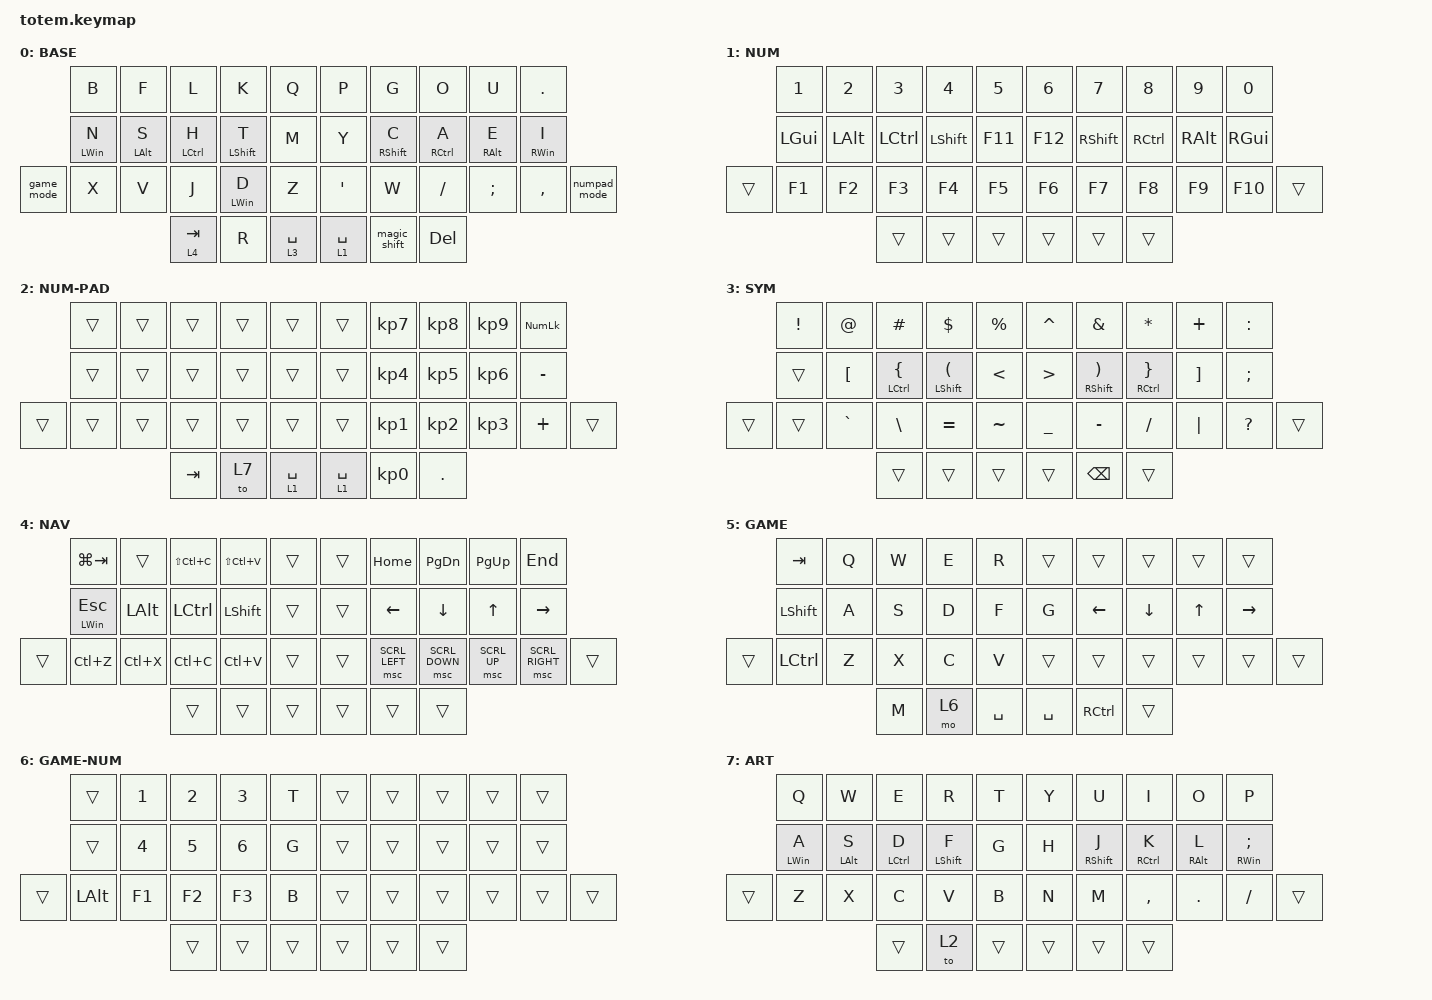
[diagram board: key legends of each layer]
//
//                                                        ▀▀▀▀▀     ▀▀▀▀▀          ▀▀█▀▀
//                                                        ▄▀▀▀▄  ▄  ▄▀▀▀▄  ▄  ▄▀▀▀▄  █  ▄▀▀▀▄
//                                                        █   █  █  █   █  █  █   █  █  █   █
//                                                         ▀▀▀   █   ▀▀▀   █   ▀▀▀   ▀   ▀▀▀
//                                                               █      ▄▄▄█▄▄▄    █   █  
//                                                               ▀      █  █  █     █▄█
//                                                             ▀▀▀▀▀    █  █  █      ▀
//                                                                      ▀  ▀  ▀
//
// ▄▄▄▄▄▄▄▄▄▄▄▄▄▄▄▄▄▄▄▄▄▄▄▄▄▄▄▄▄▄▄▄▄▄▄▄▄▄▄▄▄▄▄▄▄▄▄▄▄▄▄▄▄▄▄▄▄▄▄▄▄▄▄▄▄▄▄▄▄▄▄▄▄▄▄▄▄▄▄▄▄▄▄▄▄▄▄▄▄▄▄▄▄▄▄▄▄▄▄▄▄▄▄▄▄▄▄▄▄▄▄▄▄▄▄▄▄▄▄▄▄▄▄▄▄▄▄▄▄▄▄▄▄▄▄▄▄▄▄▄▄▄▄▄▄▄▄▄▄

#include "totem_labels.h"
#include <behaviors.dtsi>
#include <dt-bindings/zmk/keys.h>
#include <dt-bindings/zmk/pointing.h>

// define keys for home row mods

#define KEYS_L LT0 LT1 LT2 LT3 LT4 LM0 LM1 LM2 LM3 LM4 LB0 LB1 LB2 LB3 LB4
#define KEYS_R RT0 RT1 RT2 RT3 RT4 RM0 RM1 RM2 RM3 RM4 RB0 RB1 RB2 RB3 RB4
#define THUMBS LH2 LH1 LH0 RH0 RH1 RH2

&sk {
    release-after-ms = <900>;
    quick-release;
};

&sl { ignore-modifiers; };

&mt {
    flavor = "tap-preferred";
    tapping-term-ms = <220>;
    quick-tap-ms = <220>;
    hold-trigger-key-positions = <0>;
};

&lt {
    flavor = "balanced";
    quick-tap-ms = <175>;
    tapping-term-ms = <200>;
};

&mmv {
    acceleration-exponent = <1>;          // 1
    time-to-max-speed-ms = <500>;         // 300
    delay-ms = <0>;                       // 0
};

&msc {
    acceleration-exponent = <0>;          // 0
    time-to-max-speed-ms = <300>;         // 300
    delay-ms = <0>;                       // 0
};

/ {
    behaviors {
        hml: home_row_mod_left {
            compatible = "zmk,behavior-hold-tap";
            #binding-cells = <2>;
            flavor = "balanced";
            tapping-term-ms = <275>;
            quick-tap-ms = <185>;
            require-prior-idle-ms = <150>;
            bindings = <&kp>, <&kp>;

            hold-trigger-key-positions = < KEYS_L THUMBS >; // List of keys on the right side of the keyboard
            hold-trigger-on-release;
        };

        hmr: home_row_mod_right {
            compatible = "zmk,behavior-hold-tap";
            #binding-cells = <2>;
            flavor = "balanced";
            tapping-term-ms = <275>;
            quick-tap-ms = <185>;
            require-prior-idle-ms = <150>;
            bindings = <&kp>, <&kp>;

            hold-trigger-key-positions = < KEYS_R THUMBS >; // List of keys on the left side of the keyboard
            hold-trigger-on-release;
        };

        game_mode: game_mode {
            compatible = "zmk,behavior-tap-dance";
            label = "GAME_MODE";
            #binding-cells = <0>;
            bindings = <&to 5>, <&to 0>;
        };

        numpad_mode: numpad_mode {
            compatible = "zmk,behavior-tap-dance";
            label = "NUMPAD_MODE";
            #binding-cells = <0>;
            bindings = <&to 2>, <&to 0>, <&to 7>;
        };

        hold_sticky: hold_sticky {
            compatible = "zmk,behavior-hold-tap";
            label = "HOLD_STICKY";
            bindings = <&kp>, <&sk>;

            #binding-cells = <2>;
            tapping-term-ms = <200>;
        };

        magic_shift: magic_shift {
            compatible = "zmk,behavior-tap-dance";
            label = "MAGIC_SHIFT";
            #binding-cells = <0>;
            bindings = <&hold_sticky LSHIFT LSHIFT>, <&caps_word>;
        };
    };

    combos {
        compatible = "zmk,combos";

        combo_esc {
            timeout-ms = <50>;
            key-positions = <1 2>;
            bindings = <&kp ESC>;
        };

        tilde {
            bindings = <&kp TILDE>;
            key-positions = <0 1>;
        };

        backspace {
            bindings = <&kp BACKSPACE>;
            key-positions = <7 8>;
        };

        numpad {
            bindings = <&tog 2>;
            key-positions = <5 4>;
        };

        enter_L {
            bindings = <&kp ENTER>;
            key-positions = <2 3>;
        };

        enter_R {
            bindings = <&kp ENTER>;
            key-positions = <6 7>;
        };
    };

    keymap {
        compatible = "zmk,keymap";

        base_layer {
            label = "BASE";
            bindings = <
            &kp B            &kp F            &kp L         &kp K              &kp Q          &kp P        &kp G               &kp O         &kp U             &kp DOT
            &hml LEFT_WIN N  &hml LEFT_ALT S  &hml LCTRL H  &hml LEFT_SHIFT T  &kp M          &kp Y        &hmr RIGHT_SHIFT C  &hmr RCTRL A  &hmr RIGHT_ALT E  &hmr RIGHT_WIN I
&game_mode  &kp X            &kp V            &kp J         &hml LEFT_WIN D    &kp Z          &kp APOS     &kp W               &kp FSLH      &kp SEMI          &kp COMMA         &numpad_mode
                                              &lt 4 TAB     &kp R              &lt 3 SPACE    &lt 1 SPACE  &magic_shift        &kp DELETE
            >;
        };

        num_layer {
            label = "NUM";
            bindings = <
        &kp N1    &kp N2    &kp N3     &kp N4     &kp N5     &kp N6   &kp N7     &kp N8     &kp N9    &kp N0
        &kp LGUI  &kp LALT  &kp LCTRL  &kp LSHFT  &kp F11    &kp F12  &kp RSHFT  &kp RCTRL  &kp RALT  &kp RGUI
&trans  &kp F1    &kp F2    &kp F3     &kp F4     &kp F5     &kp F6   &kp F7     &kp F8     &kp F9    &kp F10   &trans
                            &trans     &trans     &trans     &trans   &trans     &trans
            >;
        };

        num_Pad {
            bindings = <
        &trans  &trans  &trans   &trans  &trans         &trans       &kp KP_N7  &kp KP_N8  &kp KP_N9  &kp KP_NUM
        &trans  &trans  &trans   &trans  &trans         &trans       &kp KP_N4  &kp KP_N5  &kp KP_N6  &kp MINUS
&trans  &trans  &trans  &trans   &trans  &trans         &trans       &kp KP_N1  &kp KP_N2  &kp KP_N3  &kp PLUS    &trans
                        &kp TAB  &to 7   &lt 1 SPACE    &lt 1 SPACE  &kp KP_N0  &kp DOT
            >;

            label = "NUM-PAD";
        };

        sim_layer {
            label = "SYM";
            bindings = <
        &kp EXCLAMATION  &kp AT            &kp HASH               &kp DOLLAR            &kp PERCENT    &kp CARET         &kp AMPERSAND          &kp ASTRK               &kp PLUS           &kp COLON
        &trans           &kp LEFT_BRACKET  &hml LCTRL LEFT_BRACE  &hml LEFT_SHIFT LPAR  &kp LT         &kp GREATER_THAN  &hmr RIGHT_SHIFT RPAR  &hmr RCTRL RIGHT_BRACE  &kp RIGHT_BRACKET  &kp SEMICOLON
&trans  &trans           &kp GRAVE         &kp BSLH               &kp EQUAL             &kp TILDE      &kp UNDER         &kp MINUS              &kp FSLH                &kp PIPE           &kp QUESTION   &trans
                                           &trans                 &trans                &trans         &trans            &kp BSPC               &trans
            >;
        };

        nav_layer {
            bindings = <
        &kp LG(TAB)          &trans     &kp LS(LC(C))  &kp LS(LC(V))  &trans    &trans  &kp HOME        &kp PG_DN       &kp PG_UP     &kp END
        &mt LEFT_WIN ESCAPE  &kp LALT   &kp LCTRL      &kp LSHFT      &trans    &trans  &kp LEFT        &kp DOWN        &kp UP        &kp RIGHT
&trans  &kp LC(Z)            &kp LC(X)  &kp LC(C)      &kp LC(V)      &trans    &trans  &msc SCRL_LEFT  &msc SCRL_DOWN  &msc SCRL_UP  &msc SCRL_RIGHT  &trans
                                        &trans         &trans         &trans    &trans  &trans          &trans
            >;

            label = "NAV";
        };

        game_layer {
            bindings = <
        &kp TAB    &kp Q  &kp W  &kp E  &kp R        &trans     &trans     &trans    &trans  &trans
        &kp LSHFT  &kp A  &kp S  &kp D  &kp F        &kp G      &kp LEFT   &kp DOWN  &kp UP  &kp RIGHT
&trans  &kp LCTRL  &kp Z  &kp X  &kp C  &kp V        &trans     &trans     &trans    &trans  &trans     &trans
                          &kp M  &mo 6  &kp SPACE    &kp SPACE  &kp RCTRL  &trans
            >;

            label = "GAME";
        };

        game_num {
            bindings = <
        &trans    &kp N1  &kp N2  &kp N3  &kp T     &trans  &trans  &trans  &trans  &trans
        &trans    &kp N4  &kp N5  &kp N6  &kp G     &trans  &trans  &trans  &trans  &trans
&trans  &kp LALT  &kp F1  &kp F2  &kp F3  &kp B     &trans  &trans  &trans  &trans  &trans  &trans
                          &trans  &trans  &trans    &trans  &trans  &trans
            >;

            label = "GAME-NUM";
        };

        art-qwert {
            bindings = <
        &kp Q            &kp W            &kp E         &kp R              &kp T     &kp Y   &kp U               &kp I         &kp O             &kp P
        &hml LEFT_WIN A  &hml LEFT_ALT S  &hml LCTRL D  &hml LEFT_SHIFT F  &kp G     &kp H   &hmr RIGHT_SHIFT J  &hmr RCTRL K  &hmr RIGHT_ALT L  &hmr RIGHT_WIN SEMI
&trans  &kp Z            &kp X            &kp C         &kp V              &kp B     &kp N   &kp M               &kp COMMA     &kp DOT           &kp FSLH             &trans
                                          &trans        &to 2              &trans    &trans  &trans              &trans
            >;

            label = "ART";
        };
    };
};
